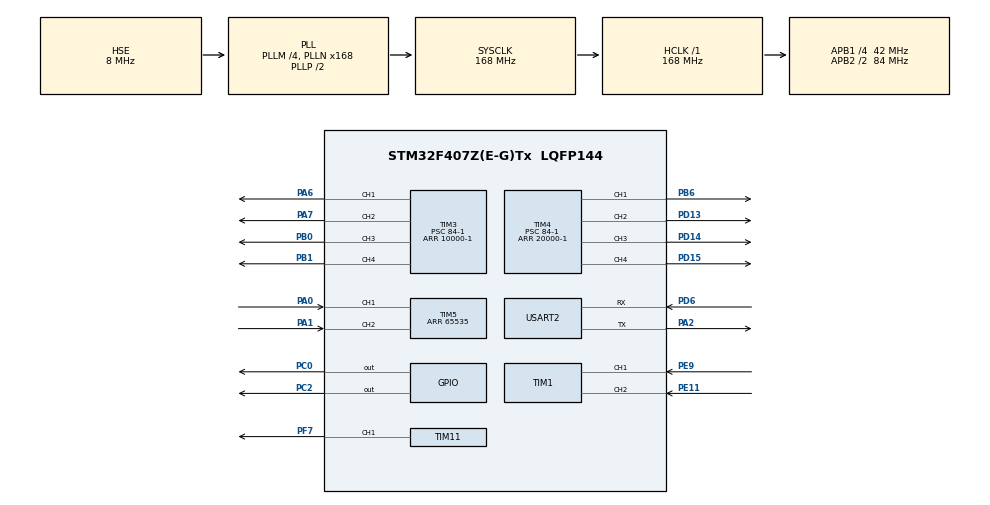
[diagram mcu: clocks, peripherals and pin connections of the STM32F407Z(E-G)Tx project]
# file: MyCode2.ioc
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Dma.Request0=USART2_RX
Dma.Request1=USART2_TX
Dma.USART2_RX.0.Direction=DMA_PERIPH_TO_MEMORY
Dma.USART2_RX.0.FIFOMode=DMA_FIFOMODE_DISABLE
Dma.USART2_RX.0.Instance=DMA1_Stream5
Dma.USART2_RX.0.MemDataAlignment=DMA_MDATAALIGN_BYTE
Dma.USART2_RX.0.MemInc=DMA_MINC_ENABLE
Dma.USART2_RX.0.Mode=DMA_NORMAL
Dma.USART2_RX.0.PeriphDataAlignment=DMA_PDATAALIGN_BYTE
Dma.USART2_RX.0.PeriphInc=DMA_PINC_DISABLE
Dma.USART2_RX.0.Priority=DMA_PRIORITY_LOW
Dma.USART2_TX.1.Direction=DMA_MEMORY_TO_PERIPH
Dma.USART2_TX.1.FIFOMode=DMA_FIFOMODE_DISABLE
Dma.USART2_TX.1.Instance=DMA1_Stream6
Dma.USART2_TX.1.MemDataAlignment=DMA_MDATAALIGN_BYTE
Dma.USART2_TX.1.MemInc=DMA_MINC_ENABLE
Dma.USART2_TX.1.Mode=DMA_NORMAL
Dma.USART2_TX.1.PeriphDataAlignment=DMA_PDATAALIGN_BYTE
Dma.USART2_TX.1.PeriphInc=DMA_PINC_DISABLE
Dma.USART2_TX.1.Priority=DMA_PRIORITY_LOW
FREERTOS.Tasks01=defaultTask,0,128,StartDefaultTask,Default,NULL,Dynamic,NULL,NULL;myTask02,-3,128,RoundMotorTask,Default,NULL,Dynamic,NULL,NULL;myTask03,-3,128,LinearMotorTask,Default,NULL,Dynamic,NULL,NULL;myTask04,-3,128,Engine,Default,NULL,Dynamic,NULL,NULL;myTask05,-3,128,Transmit,Default,NULL,Dynamic,NULL,NULL
Mcu.Family=STM32F4
Mcu.Name=STM32F407Z(E-G)Tx
Mcu.Package=LQFP144
NVIC.DMA1_Stream5_IRQn=true\:0\:0\:false\:false\:true\:false\:false\:true\:true
NVIC.DMA1_Stream6_IRQn=true\:0\:0\:false\:false\:true\:false\:false\:true\:true
NVIC.PriorityGroup=NVIC_PRIORITYGROUP_4
NVIC.TIM1_UP_TIM10_IRQn=true\:0\:0\:false\:false\:true\:false\:true\:true\:true
NVIC.TIM5_IRQn=true\:0\:0\:false\:false\:true\:false\:true\:true\:true
NVIC.TIM8_TRG_COM_TIM14_IRQn=true\:0\:0\:false\:false\:true\:false\:false\:true\:true
NVIC.TimeBase=TIM8_TRG_COM_TIM14_IRQn
NVIC.TimeBaseIP=TIM14
NVIC.USART2_IRQn=true\:0\:0\:false\:false\:true\:false\:true\:true\:true
PA0-WKUP.Signal=S_TIM5_CH1
PA1.Signal=S_TIM5_CH2
PA13.Mode=Serial_Wire
PA13.Signal=SYS_JTMS-SWDIO
PA14.Mode=Serial_Wire
PA14.Signal=SYS_JTCK-SWCLK
PA2.Mode=Asynchronous
PA2.Signal=USART2_TX
PA6.Signal=S_TIM3_CH1
PA7.Signal=S_TIM3_CH2
PB0.Signal=S_TIM3_CH3
PB1.Signal=S_TIM3_CH4
PB6.Signal=S_TIM4_CH1
PC0.GPIO_PuPd=GPIO_PULLDOWN
PC0.Signal=GPIO_Output
PC2.GPIO_PuPd=GPIO_PULLDOWN
PC2.Signal=GPIO_Output
PD13.Signal=S_TIM4_CH2
PD14.Signal=S_TIM4_CH3
PD15.Signal=S_TIM4_CH4
PD6.Mode=Asynchronous
PD6.Signal=USART2_RX
PE11.Signal=S_TIM1_CH2
PE9.Signal=S_TIM1_CH1
PF7.Signal=S_TIM11_CH1
PH0-OSC_IN.Mode=HSE-External-Oscillator
PH0-OSC_IN.Signal=RCC_OSC_IN
PH1-OSC_OUT.Mode=HSE-External-Oscillator
PH1-OSC_OUT.Signal=RCC_OSC_OUT
ProjectManager.HeapSize=0x200
ProjectManager.StackSize=0x400
ProjectManager.TargetToolchain=MDK-ARM V5.27
RCC.48MHZClocksFreq_Value=84000000
RCC.AHBFreq_Value=168000000
RCC.APB1CLKDivider=RCC_HCLK_DIV4
RCC.APB1Freq_Value=42000000
RCC.APB1TimFreq_Value=84000000
RCC.APB2CLKDivider=RCC_HCLK_DIV2
RCC.APB2Freq_Value=84000000
RCC.APB2TimFreq_Value=168000000
RCC.CortexFreq_Value=168000000
RCC.HCLKFreq_Value=168000000
RCC.HSE_VALUE=8000000
RCC.HSI_VALUE=16000000
RCC.LSE_VALUE=32768
RCC.PLLM=4
RCC.PLLN=168
RCC.PLLSourceVirtual=RCC_PLLSOURCE_HSE
RCC.SYSCLKFreq_VALUE=168000000
RCC.SYSCLKSource=RCC_SYSCLKSOURCE_PLLCLK
RCC.VCOOutputFreq_Value=336000000
SH.S_TIM11_CH1.0=TIM11_CH1,PWM Generation1 CH1
SH.S_TIM1_CH1.0=TIM1_CH1,Encoder_Interface
SH.S_TIM1_CH2.0=TIM1_CH2,Encoder_Interface
SH.S_TIM3_CH1.0=TIM3_CH1,PWM Generation1 CH1
SH.S_TIM3_CH2.0=TIM3_CH2,PWM Generation2 CH2
SH.S_TIM3_CH3.0=TIM3_CH3,PWM Generation3 CH3
SH.S_TIM3_CH4.0=TIM3_CH4,PWM Generation4 CH4
SH.S_TIM4_CH1.0=TIM4_CH1,PWM Generation1 CH1
SH.S_TIM4_CH2.0=TIM4_CH2,PWM Generation2 CH2
SH.S_TIM4_CH3.0=TIM4_CH3,PWM Generation3 CH3
SH.S_TIM4_CH4.0=TIM4_CH4,PWM Generation4 CH4
SH.S_TIM5_CH1.0=TIM5_CH1,Encoder_Interface
SH.S_TIM5_CH2.0=TIM5_CH2,Encoder_Interface
TIM1.EncoderMode=TIM_ENCODERMODE_TI12
TIM1.IC1Filter=6
TIM1.IC2Filter=6
TIM11.Channel=TIM_CHANNEL_1
TIM11.Period=300-1
TIM11.Prescaler=126-1
TIM11.Pulse=150
TIM3.Channel-PWM\ Generation1\ CH1=TIM_CHANNEL_1
TIM3.Channel-PWM\ Generation2\ CH2=TIM_CHANNEL_2
TIM3.Channel-PWM\ Generation3\ CH3=TIM_CHANNEL_3
TIM3.Channel-PWM\ Generation4\ CH4=TIM_CHANNEL_4
TIM3.Period=10000-1
TIM3.Prescaler=84-1
TIM4.Channel-PWM\ Generation1\ CH1=TIM_CHANNEL_1
TIM4.Channel-PWM\ Generation2\ CH2=TIM_CHANNEL_2
TIM4.Channel-PWM\ Generation3\ CH3=TIM_CHANNEL_3
TIM4.Channel-PWM\ Generation4\ CH4=TIM_CHANNEL_4
TIM4.Period=20000-1
TIM4.Prescaler=84-1
TIM5.EncoderMode=TIM_ENCODERMODE_TI12
TIM5.IC1Filter=6
TIM5.IC2Filter=6
TIM5.Period=65535
USART2.VirtualMode=VM_ASYNC
VP_FREERTOS_VS_CMSIS_V1.Mode=CMSIS_V1
VP_SYS_VS_tim14.Mode=TIM14
VP_TIM11_VS_ClockSourceINT.Mode=Enable_Timer
VP_TIM3_VS_ClockSourceINT.Mode=Internal
VP_TIM4_VS_ClockSourceINT.Mode=Internal
board=custom

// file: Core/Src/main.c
/* USER CODE BEGIN Header */
/**
  ******************************************************************************
  * @file           : main.c
  * @brief          : Main program body
  ******************************************************************************
  * @attention
  *
  * <h2><center>&copy; Copyright (c) 2024 STMicroelectronics.
  * All rights reserved.</center></h2>
  *
  * This software component is licensed by ST under BSD 3-Clause license,
  * the "License"; You may not use this file except in compliance with the
  * License. You may obtain a copy of the License at:
  *                        opensource.org/licenses/BSD-3-Clause
  *
  ******************************************************************************
  */
/* USER CODE END Header */
#include "main.h"
#include "cmsis_os.h"
#include "dma.h"
#include "tim.h"
#include "usart.h"
#include "gpio.h"

/* USER CODE BEGIN Includes */
#include "Command.h"
#include "Motor.h"
#include "RoundMotor.h"
#include "LinearMotor.h"
#include "Engine.h"
#include "Variate.h"
/* USER CODE END Includes */

/* USER CODE BEGIN PTD */

//0 Command
//1 Round  Motor1
//2 Linear Moter2
//3 Steering Engine
//4 Step	 Motor

/* USER CODE END PTD */

void SystemClock_Config(void);
void MX_FREERTOS_Init(void);

int main(void)
{

  /* MCU Configuration--------------------------------------------------------*/

  /* Reset of all peripherals, Initializes the Flash interface and the Systick. */
  HAL_Init();

  /* Configure the system clock */
  SystemClock_Config();

  /* Initialize all configured peripherals */
  MX_GPIO_Init();
  MX_DMA_Init();
  MX_TIM4_Init();
  MX_TIM11_Init();
  MX_USART2_UART_Init();
  MX_TIM1_Init();
  MX_TIM3_Init();
  MX_TIM5_Init();
  /* USER CODE BEGIN 2 */
//0 Command
	__HAL_UART_ENABLE_IT(&huart2,UART_IT_IDLE);
	HAL_UART_Receive_DMA(&huart2,(uint8_t *)Command,LENGTH);
//1 Round  Motor
	HAL_TIM_PWM_Start(&htim3,TIM_CHANNEL_1);
	HAL_TIM_PWM_Start(&htim3,TIM_CHANNEL_2);
	__HAL_TIM_CLEAR_IT(&htim1,TIM_IT_UPDATE);
	HAL_TIM_Encoder_Start(&htim1,TIM_CHANNEL_ALL);
	HAL_TIM_Base_Start_IT(&htim1);
//2 Linear Moter
	HAL_TIM_PWM_Start(&htim3,TIM_CHANNEL_3);
	HAL_TIM_PWM_Start(&htim3,TIM_CHANNEL_4);
	__HAL_TIM_CLEAR_IT(&htim5, TIM_IT_UPDATE);
	HAL_TIM_Encoder_Start(&htim5, TIM_CHANNEL_ALL);
	HAL_TIM_Base_Start_IT(&htim5);
//3 Steering Engine
	HAL_TIM_PWM_Start(&htim4,TIM_CHANNEL_1);
	HAL_TIM_PWM_Start(&htim4,TIM_CHANNEL_2);
//3 Steering Engine Claw
	HAL_TIM_PWM_Start(&htim4,TIM_CHANNEL_3);
	HAL_TIM_PWM_Start(&htim4,TIM_CHANNEL_4);
//4 Step	 Motor
	HAL_TIM_PWM_Start(&htim11,TIM_CHANNEL_1);
//5 PID
	PID_param_init(initial_pid_val);
	////////////
//	motor_move();
//	HAL_Delay(1000);
//	motor_grab_edge_ball();
//	HAL_Delay(300000);
	motor_init();

//	motor_grab_cube();
	//motor_grab_ball();
	//motor_grab_edge_ball();
 //void motor_init(void);
//void motor_move(void);
//void motor_grab_cube(void);
//void motor_grab_ball(void);
//void motor_put_cube(void);
//void motor_put_ball(void);
//void motor_reset(void);
//void motor_up_open(void);
//void motor_down_close(void);
//void motor_grab_edge_ball(void);
//void motor_grab_edge_cube(void);
//unsigned int PWM_Limit(unsigned int pwm);
//void motor_up_little(void);
//void motor_down_little(void);
//void motor_grab_cube_down(void);

//	Round_Angle=90;
//	Linear_length=10;
//		StartTaskMotor1(Round_Angle,Linear_length);
//		StartTaskMotor2(fabs(Linear_length));

  /* USER CODE END 2 */

  /* Call init function for freertos objects (in freertos.c) */
  MX_FREERTOS_Init();
  /* Start scheduler */
  osKernelStart();

  /* We should never get here as control is now taken by the scheduler */
  /* Infinite loop */
  while (1)
  {

    /* USER CODE BEGIN 3 */
		//Command_Analysis();

  }
  /* USER CODE END 3 */
}

void SystemClock_Config(void)
{
  RCC_OscInitTypeDef RCC_OscInitStruct = {0};
  RCC_ClkInitTypeDef RCC_ClkInitStruct = {0};

  /** Configure the main internal regulator output voltage
  */
  __HAL_RCC_PWR_CLK_ENABLE();
  __HAL_PWR_VOLTAGESCALING_CONFIG(PWR_REGULATOR_VOLTAGE_SCALE1);
  /** Initializes the RCC Oscillators according to the specified parameters
  * in the RCC_OscInitTypeDef structure.
  */
  RCC_OscInitStruct.OscillatorType = RCC_OSCILLATORTYPE_HSE;
  RCC_OscInitStruct.HSEState = RCC_HSE_ON;
  RCC_OscInitStruct.PLL.PLLState = RCC_PLL_ON;
  RCC_OscInitStruct.PLL.PLLSource = RCC_PLLSOURCE_HSE;
  RCC_OscInitStruct.PLL.PLLM = 4;
  RCC_OscInitStruct.PLL.PLLN = 168;
  RCC_OscInitStruct.PLL.PLLP = RCC_PLLP_DIV2;
  RCC_OscInitStruct.PLL.PLLQ = 4;
  if (HAL_RCC_OscConfig(&RCC_OscInitStruct) != HAL_OK)
  {
    Error_Handler();
  }
  /** Initializes the CPU, AHB and APB buses clocks
  */
  RCC_ClkInitStruct.ClockType = RCC_CLOCKTYPE_HCLK|RCC_CLOCKTYPE_SYSCLK
                              |RCC_CLOCKTYPE_PCLK1|RCC_CLOCKTYPE_PCLK2;
  RCC_ClkInitStruct.SYSCLKSource = RCC_SYSCLKSOURCE_PLLCLK;
  RCC_ClkInitStruct.AHBCLKDivider = RCC_SYSCLK_DIV1;
  RCC_ClkInitStruct.APB1CLKDivider = RCC_HCLK_DIV4;
  RCC_ClkInitStruct.APB2CLKDivider = RCC_HCLK_DIV2;

  if (HAL_RCC_ClockConfig(&RCC_ClkInitStruct, FLASH_LATENCY_5) != HAL_OK)
  {
    Error_Handler();
  }
}

/* USER CODE BEGIN 4 */
//0 Command
void HAL_UART_RxCpltCallback(UART_HandleTypeDef *huart)
{
	if(huart->Instance == USART2)
	{
		HAL_UART_Receive_DMA(&huart2,(uint8_t *)Command,LENGTH);
	}
}
void HAL_UART_IdleCpltCallback(UART_HandleTypeDef *huart)
{
	xSemaphoreGiveFromISR(RxFlag,NULL);
}

/* USER CODE END 4 */

void HAL_TIM_PeriodElapsedCallback(TIM_HandleTypeDef *htim)
{
  /* USER CODE BEGIN Callback 0 */
	if(htim == &htim1)
	{
		if(__HAL_TIM_IS_TIM_COUNTING_DOWN(&htim1))
		{
			Motor1EncoderOverflowCnt--;//�������
		}
		else
		{
			Motor1EncoderOverflowCnt++;//�������
		}
	}
    if(htim == &htim5)
	{
		if(__HAL_TIM_IS_TIM_COUNTING_DOWN(&htim5))//ͬ��
		{
			Motor2EncoderOverflowCnt--;
		}
		else
		{
			Motor2EncoderOverflowCnt++;
		}
	}
  /* USER CODE END Callback 0 */
	if (htim->Instance == TIM14)
	{
		HAL_IncTick();
	}
}

void Error_Handler(void)
{
}

/************************ (C) COPYRIGHT STMicroelectronics *****END OF FILE****/

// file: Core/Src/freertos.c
/* USER CODE BEGIN Header */
/**
  ******************************************************************************
  * File Name          : freertos.c
  * Description        : Code for freertos applications
  ******************************************************************************
  * @attention
  *
  * <h2><center>&copy; Copyright (c) 2024 STMicroelectronics.
  * All rights reserved.</center></h2>
  *
  * This software component is licensed by ST under Ultimate Liberty license
  * SLA0044, the "License"; You may not use this file except in compliance with
  * the License. You may obtain a copy of the License at:
  *                             www.st.com/SLA0044
  *
  ******************************************************************************
  */
/* USER CODE END Header */

#include "FreeRTOS.h"
#include "task.h"
#include "main.h"
#include "cmsis_os.h"

/* USER CODE BEGIN Includes */
#include "Command.h"
#include "Motor.h"
#include "RoundMotor.h"
#include "LinearMotor.h"
#include "Engine.h"
#include "Variate.h"
/* USER CODE END Includes */

osThreadId defaultTaskHandle;
osThreadId myTask02Handle;
osThreadId myTask03Handle;
osThreadId myTask04Handle;
osThreadId myTask05Handle;

void StartDefaultTask(void const * argument);
void RoundMotorTask(void const * argument);
void LinearMotorTask(void const * argument);
void Engine(void const * argument);
void Transmit(void const * argument);

void MX_FREERTOS_Init(void); /* (MISRA C 2004 rule 8.1) */

/* GetIdleTaskMemory prototype (linked to static allocation support) */
void vApplicationGetIdleTaskMemory( StaticTask_t **ppxIdleTaskTCBBuffer, StackType_t **ppxIdleTaskStackBuffer, uint32_t *pulIdleTaskStackSize );

/* USER CODE BEGIN GET_IDLE_TASK_MEMORY */
static StaticTask_t xIdleTaskTCBBuffer;
static StackType_t xIdleStack[configMINIMAL_STACK_SIZE];

void vApplicationGetIdleTaskMemory( StaticTask_t **ppxIdleTaskTCBBuffer, StackType_t **ppxIdleTaskStackBuffer, uint32_t *pulIdleTaskStackSize )
{
  *ppxIdleTaskTCBBuffer = &xIdleTaskTCBBuffer;
  *ppxIdleTaskStackBuffer = &xIdleStack[0];
  *pulIdleTaskStackSize = configMINIMAL_STACK_SIZE;
  /* place for user code */
}
/* USER CODE END GET_IDLE_TASK_MEMORY */

void MX_FREERTOS_Init(void) {

  /* USER CODE BEGIN RTOS_SEMAPHORES */
  /* add semaphores, ... */
	RxFlag = xSemaphoreCreateBinary();
	Round_Finish = xSemaphoreCreateBinary();
	Linear_Finish = xSemaphoreCreateBinary();
  /* USER CODE END RTOS_SEMAPHORES */

  /* Create the thread(s) */
  /* definition and creation of defaultTask */
  osThreadDef(defaultTask, StartDefaultTask, osPriorityNormal, 0, 128);
  defaultTaskHandle = osThreadCreate(osThread(defaultTask), NULL);

  /* definition and creation of myTask02 */
  osThreadDef(myTask02, RoundMotorTask, osPriorityIdle, 0, 128);
  myTask02Handle = osThreadCreate(osThread(myTask02), NULL);

  /* definition and creation of myTask03 */
  osThreadDef(myTask03, LinearMotorTask, osPriorityIdle, 0, 128);
  myTask03Handle = osThreadCreate(osThread(myTask03), NULL);

  /* definition and creation of myTask04 */
  osThreadDef(myTask04, Engine, osPriorityIdle, 0, 128);
  myTask04Handle = osThreadCreate(osThread(myTask04), NULL);

  /* definition and creation of myTask05 */
  osThreadDef(myTask05, Transmit, osPriorityIdle, 0, 128);
  myTask05Handle = osThreadCreate(osThread(myTask05), NULL);

}

void StartDefaultTask(void const * argument)
{
  /* USER CODE BEGIN StartDefaultTask */
  /* Infinite loop */

	for(;;)
	{
		if(xSemaphoreTake(RxFlag,portMAX_DELAY) == pdTRUE)
		{
			Command_Analysis();
		}
	}
  /* USER CODE END StartDefaultTask */
}

void RoundMotorTask(void const * argument)
{
  /* USER CODE BEGIN RoundMotorTask */
  /* Infinite loop */
  for(;;)
  {
		if(Mode_Command!=TRY_FORCE_RESET)
		{
			StartTaskMotor1();
		}
    osDelay(1);
  }
  /* USER CODE END RoundMotorTask */
}

void LinearMotorTask(void const * argument)
{
  /* USER CODE BEGIN LinearMotorTask */
  /* Infinite loop */
  for(;;)
  {
		if(Mode_Command!=TRY_FORCE_RESET)
		{
			StartTaskMotor2();
		}
		osDelay(1);
  }
  /* USER CODE END LinearMotorTask */
}

void Engine(void const * argument)
{
  /* USER CODE BEGIN Engine */
  /* Infinite loop */
  for(;;)
  {
//		if(Mode_Command==TRY_SWAP)
//		{
//			if(Start_Flag==1 && Round_Finish==0 && Linear_Finish==0)
//			{
//			TIM4->CCR1=INITIAL1-700;
//			TIM4->CCR2=INITIAL1-700;
//			}
//			if(Start_Flag==1 && Round_Finish==1 && Linear_Finish==1)
//			{
//				TIM4->CCR1=INITIAL1;
//				TIM4->CCR2=INITIAL1;
//				Start_Flag=0;
//				Round_Finish=0;
//				Linear_Finish=0;
//				transmit[4]=0xFF;
//			}
//		}

		if(Start_Flag == 1 && xSemaphoreTake(Round_Finish,portMAX_DELAY) == pdTRUE && xSemaphoreTake(Linear_Finish,portMAX_DELAY) == pdTRUE)
		{
			if(Mode_Command==TRY_UNMOVE);
			else if(Mode_Command==TRY_GRAB_CUBE) 			motor_grab_cube();//
			else if(Mode_Command==TRY_PUT_CUBE)  			motor_put_cube();
			else if(Mode_Command==TRY_GRAB_BALL) 			motor_grab_ball();
			else if(Mode_Command==TRY_PUT_BALL)  			motor_put_ball();
			else if(Mode_Command==TRY_RESET) 		 		motor_reset();
			else if(Mode_Command==TRY_UP) 		   			motor_up_open();
			else if(Mode_Command==TRY_DOWN) 		 		motor_down_close();
			else if(Mode_Command==TRY_GRAB_EDGE_BALL)	 	motor_grab_edge_ball();
			else if(Mode_Command==TRY_GRAB_EDGE_CUBE) 		motor_grab_edge_cube();
			else if(Mode_Command==TRY_UP_LITLLE)      		motor_up_little();
			else if(Mode_Command==TRY_GRAB_CUBE_DOWN) 		motor_grab_cube_down();
			else if(Mode_Command==TRY_SWAP)					motor_swap();
			transmit[4]=0xFF;
			Start_Flag=0;
		}
		osDelay(1);
  }
  /* USER CODE END Engine */
}

void Transmit(void const * argument)
{
  /* USER CODE BEGIN Transmit */
  /* Infinite loop */
  for(;;)
  {
		transmit[7]=transmit[4]+transmit[5]+transmit[6];
		HAL_UART_Transmit_DMA(&huart2,(uint8_t *)transmit, 8);
        osDelay(1);
  }
  /* USER CODE END Transmit */
}

/************************ (C) COPYRIGHT STMicroelectronics *****END OF FILE****/
